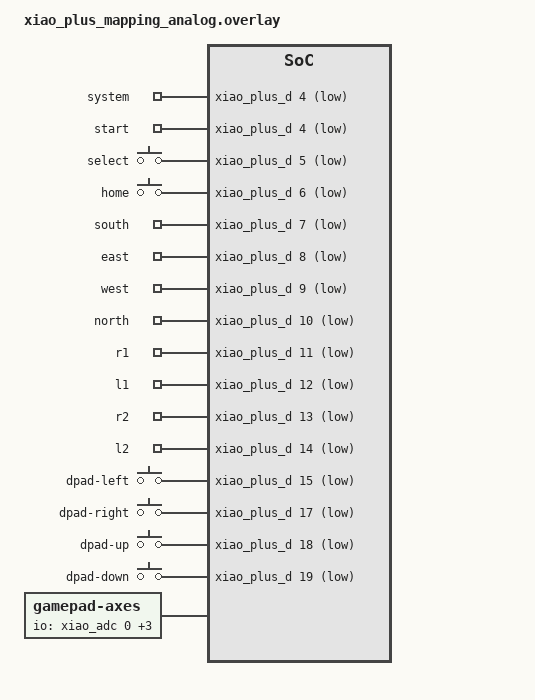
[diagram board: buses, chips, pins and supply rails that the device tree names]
// This overlay is for when a Xiao Plus board is used standalone, not as part of Flatbox rev7.2.

/ {
    gamepad-buttons {
        compatible = "gpio-keys";
        /* same as start */
        system { gpios = <&xiao_plus_d 4 (GPIO_PULL_UP | GPIO_ACTIVE_LOW)>; };
        start { gpios = <&xiao_plus_d 4 (GPIO_PULL_UP | GPIO_ACTIVE_LOW)>; };
        select { gpios = <&xiao_plus_d 5 (GPIO_PULL_UP | GPIO_ACTIVE_LOW)>; };
        home { gpios = <&xiao_plus_d 6 (GPIO_PULL_UP | GPIO_ACTIVE_LOW)>; };
        south { gpios = <&xiao_plus_d 7 (GPIO_PULL_UP | GPIO_ACTIVE_LOW)>; };
        east { gpios = <&xiao_plus_d 8 (GPIO_PULL_UP | GPIO_ACTIVE_LOW)>; };
        west { gpios = <&xiao_plus_d 9 (GPIO_PULL_UP | GPIO_ACTIVE_LOW)>; };
        north { gpios = <&xiao_plus_d 10 (GPIO_PULL_UP | GPIO_ACTIVE_LOW)>; };
        r1 { gpios = <&xiao_plus_d 11 (GPIO_PULL_UP | GPIO_ACTIVE_LOW)>; };
        l1 { gpios = <&xiao_plus_d 12 (GPIO_PULL_UP | GPIO_ACTIVE_LOW)>; };
        r2 { gpios = <&xiao_plus_d 13 (GPIO_PULL_UP | GPIO_ACTIVE_LOW)>; };
        l2 { gpios = <&xiao_plus_d 14 (GPIO_PULL_UP | GPIO_ACTIVE_LOW)>; };
        dpad-left { gpios = <&xiao_plus_d 15 (GPIO_PULL_UP | GPIO_ACTIVE_LOW)>; };
        // skip 16
        dpad-right { gpios = <&xiao_plus_d 17 (GPIO_PULL_UP | GPIO_ACTIVE_LOW)>; };
        dpad-up { gpios = <&xiao_plus_d 18 (GPIO_PULL_UP | GPIO_ACTIVE_LOW)>; };
        dpad-down { gpios = <&xiao_plus_d 19 (GPIO_PULL_UP | GPIO_ACTIVE_LOW)>; };
    };

    gamepad-axes {
        compatible = "gamepad-axes";
        io-channels = <&xiao_adc 0>, <&xiao_adc 1>, <&xiao_adc 2>, <&xiao_adc 3>;
        io-channel-names = "left-stick-x", "left-stick-y", "right-stick-x", "right-stick-y";

        // full range is 0-65535
        left-stick-x-center = <32768>;
        left-stick-y-center = <32768>;
        left-stick-inner-radius = <2048>;
        left-stick-outer-radius = <30720>;
        right-stick-x-center = <32768>;
        right-stick-y-center = <32768>;
        right-stick-inner-radius = <2048>;
        right-stick-outer-radius = <30720>;
        left-trigger-lower-end = <4096>;
        left-trigger-upper-end = <61440>;
        right-trigger-lower-end = <4096>;
        right-trigger-upper-end = <61440>;
    };
};
